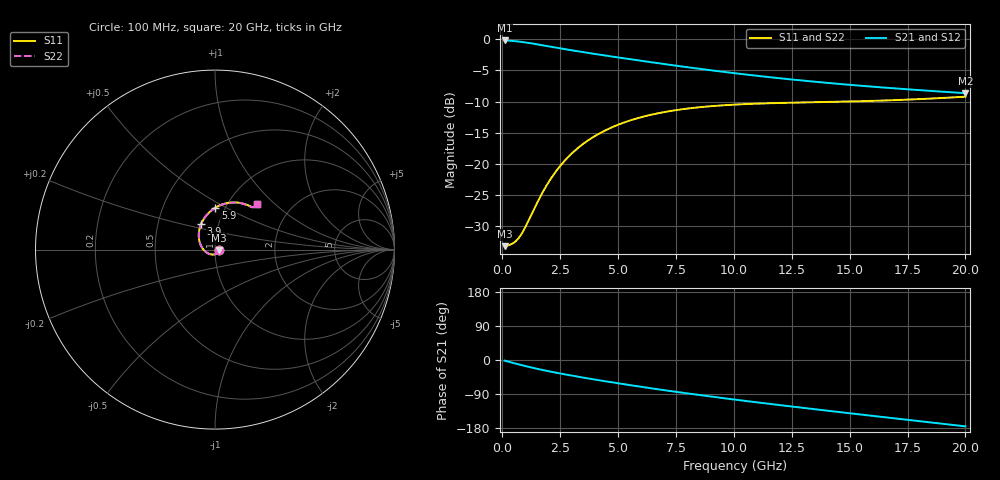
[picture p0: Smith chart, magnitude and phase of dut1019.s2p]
! Touchstone file exported from HFSS 2024.1.0
!  File:  C:/UserFiles/LocalFiles/RDL_TSV_Batchsim/temp_RDL_TSV_1019_1780080866.aedt
!  Generated:  03:09:57 AM May 30, 2026
!  Design:  RDL_TSV
!  Project:  temp_RDL_TSV_1019_1780080866
!  Setup:  Setup1
!  Solution:  Sweep
! Variables:
!  dtsv = 13.23um
!  hbump = 3um
!  htsv = 89.97um
!  ldown = 182.36um
!  lrdl = 340.7um
!  p = 40
!  p1 = 44.68um
!  rhole = 10um
!  subl = 1909.88um
!  t = 450um
!  tdown = 2.18um
!  trdl = 2.53um
!  viad = 10um
!  wdown = 28.58um
!  wrdl = 10.16um
!  xbump = 18um
# GHz S MA R 50.000000
! Terminal data exported
! Port[1] = TM1_1_T1
! Port[2] = TM1_4_T1
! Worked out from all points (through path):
!   200 points, 100 MHz to 20 GHz, reference 50 ohm
!   highest |S21| = -0.20 dB at 100 MHz (marker M1); lowest = -8.7 dB at 20 GHz (marker M2)
!   group delay of S21, straight-line fit = 22.8 ps
!   lowest |S11| = -33.2 dB at 100 MHz (marker M3), VSWR 1.04, Z = 52.2 - j0.436 ohm
!   |S11| at or under -10 dB: start of sweep to 14.9 GHz
!   |S22| runs from -33.2 to -9.3 dB; largest |S21 - S12| = 1.5e-14
!   S11 on the Smith chart (normalised r, x): 100 MHz: 1.04, -0.01; 3.9 GHz: 0.82, +0.24; 5.9 GHz: 0.90, +0.45; 20 GHz: 1.36, +0.78
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0.1  0.02184 -11.0  0.9777 -1.7  0.9777 -1.7  0.02184 -11.0
! Gamma 0 0 0 0
! Port Impedance 50 0 50 0
0.4  0.0227 -46.0  0.9711 -6.7  0.9711 -6.7  0.02271 -46.0
0.6  0.02411 -70.7  0.9634 -10.0  0.9634 -10.0  0.02412 -70.7
0.7  0.02527 -83.0  0.9588 -11.5  0.9588 -11.5  0.02528 -83.0
1  0.03116 -117.2  0.9425 -16.1  0.9425 -16.1  0.03115 -117.1
1.6  0.05274 -165.8  0.9038 -24.5  0.9038 -24.5  0.05266 -165.7
2  0.07135 173.0  0.877 -29.6  0.877 -29.6  0.07119 173.0
2.5  0.09623 153.3  0.8449 -35.6  0.8449 -35.6  0.09598 153.4
3  0.1211 138.4  0.815 -41.1  0.815 -41.1  0.1208 138.4
3.5  0.145 126.3  0.7874 -46.5  0.7874 -46.5  0.1445 126.4
3.9  0.1629 118.2  0.7666 -50.6  0.7666 -50.6  0.1624 118.2
4.8  0.1988 103.2  0.7233 -59.5  0.7233 -59.5  0.1981 103.3
5.9  0.2341 89.3  0.6753 -69.9  0.6753 -69.9  0.2332 89.3
6.8  0.2562 80.4  0.6394 -78.0  0.6394 -78.0  0.2552 80.4
8.4  0.2832 68.3  0.5827 -91.5  0.5827 -91.5  0.282 68.4
10.1  0.2992 59.5  0.532 -105.0  0.532 -105.0  0.2978 59.5
11.7  0.3071 53.9  0.4924 -117.0  0.4924 -117.0  0.3056 54.0
13.4  0.3121 50.2  0.4577 -129.3  0.4577 -129.3  0.3105 50.3
15  0.3165 48.3  0.4307 -140.5  0.4307 -140.5  0.315 48.4
16.7  0.3233 47.4  0.4065 -152.4  0.4065 -152.4  0.3218 47.6
18.3  0.3326 47.1  0.3871 -163.4  0.3871 -163.4  0.3312 47.3
20  0.3458 46.9  0.3691 -175.1  0.3691 -175.1  0.3445 47.1
